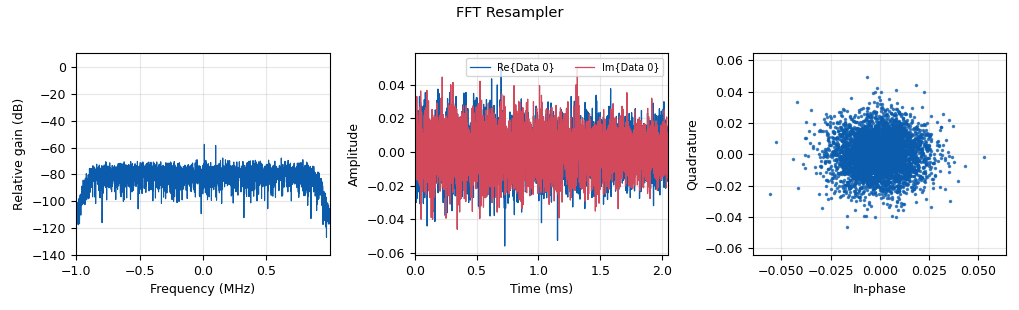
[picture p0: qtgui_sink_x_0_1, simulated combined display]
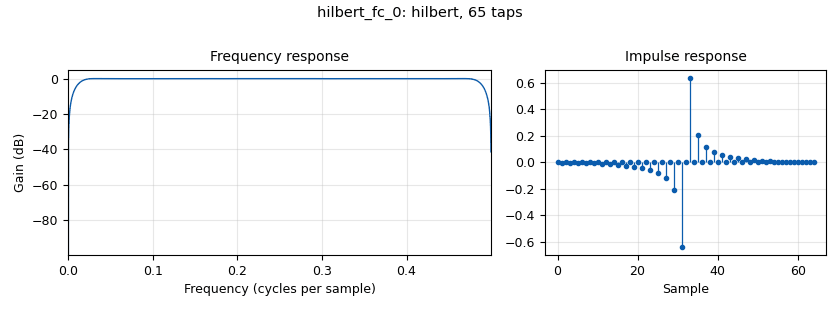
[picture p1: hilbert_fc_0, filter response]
options:
  parameters:
    generate_options: qt_gui
    id: fmcw_simulado_01
    output_language: python
    title: Not titled yet
  states: {}

blocks:
- name: FC_RX
  id: variable
  parameters:
    value: 2.4e9
  states: {}
- name: FC_TX
  id: variable
  parameters:
    value: 2.4e9
  states: {}
- name: PI
  id: variable
  parameters:
    value: '3.14159'
  states: {}
- name: amp_rx
  id: variable_qtgui_range
  parameters:
    label: AMP rx
    orient: Qt.Horizontal
    start: '0.05'
    step: '0.05'
    stop: '1'
    value: '0.1'
  states: {}
- name: amp_rx_0
  id: variable_qtgui_range
  parameters:
    label: AMP rx
    orient: Qt.Horizontal
    start: '0.05'
    step: '0.05'
    stop: '1'
    value: '0.1'
  states: {}
- name: amp_tx
  id: variable_qtgui_range
  parameters:
    label: AMP tx
    orient: Qt.Horizontal
    start: '0'
    step: '0.05'
    stop: '1'
    value: '0.05'
  states: {}
- name: gain_rx
  id: variable_qtgui_range
  parameters:
    label: GAIN RX
    orient: Qt.Horizontal
    start: '0'
    step: '1'
    stop: '20'
    value: '10'
  states: {state: disabled}
- name: gain_rx_0
  id: variable_qtgui_range
  parameters:
    label: GAIN TX
    orient: Qt.Horizontal
    start: '0'
    step: '1'
    stop: '20'
    value: '10'
  states: {state: disabled}
- name: gain_tx
  id: variable_qtgui_range
  parameters:
    label: GAIN TX
    orient: Qt.Horizontal
    start: '0'
    step: '1'
    stop: '20'
    value: '10'
  states: {state: disabled}
- name: samp_rate
  id: variable
  parameters:
    value: 2e6
  states: {}
- name: sample_delay
  id: variable_qtgui_range
  parameters:
    label: Muestras de delay
    orient: Qt.Horizontal
    start: 1e3
    step: 1e3
    stop: 1e6
    value: 1e3
  states: {}
- name: analog_noise_source_x_0
  id: analog_noise_source_x
  parameters:
    amp: '2'
    noise_type: analog.GR_GAUSSIAN
    seed: '0'
    type: complex
  states: {}
- name: analog_sig_source_x_0
  id: analog_sig_source_x
  parameters:
    amp: 2*PI
    freq: '0.1'
    offset: '0'
    phase: '0'
    samp_rate: samp_rate
    type: float
    waveform: analog.GR_TRI_WAVE
  states: {}
- name: blocks_add_xx_0
  id: blocks_add_xx
  parameters:
    type: complex
  states: {}
- name: blocks_add_xx_0_0
  id: blocks_add_xx
  parameters:
    type: complex
  states: {}
- name: blocks_delay_0
  id: blocks_delay
  parameters:
    delay: int(sample_delay)
    type: complex
  states: {}
- name: blocks_delay_0_0
  id: blocks_delay
  parameters:
    delay: int(10e3)
    type: complex
  states: {}
- name: blocks_multiply_conjugate_cc_0
  id: blocks_multiply_conjugate_cc
  parameters: {}
  states: {}
- name: blocks_multiply_const_vxx_0
  id: blocks_multiply_const_vxx
  parameters:
    const: '10'
    type: complex
  states: {state: disabled}
- name: blocks_multiply_const_vxx_0_0
  id: blocks_multiply_const_vxx
  parameters:
    const: amp_tx
    type: complex
  states: {state: disabled}
- name: blocks_multiply_const_vxx_1
  id: blocks_multiply_const_vxx
  parameters:
    const: amp_tx
    type: complex
  states: {}
- name: blocks_multiply_const_vxx_1_0
  id: blocks_multiply_const_vxx
  parameters:
    const: amp_rx
    type: complex
  states: {}
- name: blocks_null_sink_0
  id: blocks_null_sink
  parameters:
    type: complex
  states: {state: disabled}
- name: blocks_throttle_1_0
  id: blocks_throttle
  parameters:
    samples_per_second: 1E6
    type: complex
  states: {state: disabled}
- name: blocks_throttle_1_0_0
  id: blocks_throttle
  parameters:
    samples_per_second: 1E6
    type: complex
  states: {state: disabled}
- name: blocks_throttle_1_0_0_0
  id: blocks_throttle
  parameters:
    samples_per_second: 1e6
    type: complex
  states: {}
- name: blocks_vco_f_0
  id: blocks_vco_f
  parameters:
    amplitude: '1'
    samp_rate: samp_rate
    sensitivity: 1e6
  states: {}
- name: dc_blocker_xx_0
  id: dc_blocker_xx
  parameters:
    length: '32'
    long_form: 'True'
    type: cc
  states: {state: disabled}
- name: hilbert_fc_0
  id: hilbert_fc
  parameters:
    num_taps: '64'
    win: firdes.WIN_HAMMING
  states: {}
- name: osmosdr_sink_0
  id: osmosdr_sink
  parameters:
    bb_gain0: '20'
    freq0: FC_TX
    gain0: gain_tx
    if_gain0: '20'
    sample_rate: samp_rate
    sync: sync
    type: fc32
  states: {state: disabled}
- name: osmosdr_source_0
  id: osmosdr_source
  parameters:
    bb_gain0: '20'
    freq0: FC_RX
    gain0: gain_rx
    gain_mode0: 'False'
    if_gain0: '20'
    sample_rate: samp_rate
    sync: sync
    type: fc32
  states: {state: disabled}
- name: qtgui_sink_x_0
  id: qtgui_sink_x
  parameters:
    bw: 2E6
    fc: '0'
    fftsize: '1024'
    type: complex
    wintype: firdes.WIN_BLACKMAN_hARRIS
  states: {state: disabled}
- name: qtgui_sink_x_0_0
  id: qtgui_sink_x
  parameters:
    bw: '1000'
    fc: '0'
    fftsize: '1024'
    type: complex
    wintype: firdes.WIN_BLACKMAN_hARRIS
  states: {state: disabled}
- name: qtgui_sink_x_0_1
  id: qtgui_sink_x
  parameters:
    bw: samp_rate
    fc: '0'
    fftsize: '4096'
    name: '"FFT Resampler"'
    type: complex
    wintype: firdes.WIN_BLACKMAN_hARRIS
  states: {}
- name: qtgui_time_sink_x_0
  id: qtgui_time_sink_x
  parameters:
    size: '1024'
    srate: samp_rate
    type: complex
  states: {state: disabled}
- name: rational_resampler_xxx_0
  id: rational_resampler_xxx
  parameters:
    decim: '100'
    interp: '1'
    taps: ''
    type: ccf
  states: {}

connections:
- [analog_noise_source_x_0, '0', blocks_add_xx_0_0, '1']
- [analog_sig_source_x_0, '0', blocks_vco_f_0, '0']
- [blocks_add_xx_0, '0', blocks_add_xx_0_0, '0']
- [blocks_add_xx_0_0, '0', blocks_multiply_conjugate_cc_0, '1']
- [blocks_delay_0, '0', blocks_add_xx_0, '0']
- [blocks_delay_0_0, '0', blocks_add_xx_0, '1']
- [blocks_multiply_conjugate_cc_0, '0', blocks_null_sink_0, '0']
- [blocks_multiply_conjugate_cc_0, '0', rational_resampler_xxx_0, '0']
- [blocks_multiply_const_vxx_0, '0', blocks_multiply_conjugate_cc_0, '1']
- [blocks_multiply_const_vxx_0_0, '0', osmosdr_sink_0, '0']
- [blocks_multiply_const_vxx_1, '0', blocks_delay_0, '0']
- [blocks_multiply_const_vxx_1, '0', blocks_delay_0_0, '0']
- [blocks_multiply_const_vxx_1, '0', blocks_throttle_1_0, '0']
- [blocks_multiply_const_vxx_1_0, '0', blocks_multiply_conjugate_cc_0, '0']
- [blocks_throttle_1_0, '0', qtgui_sink_x_0, '0']
- [blocks_throttle_1_0_0, '0', qtgui_sink_x_0_0, '0']
- [blocks_throttle_1_0_0_0, '0', qtgui_sink_x_0_1, '0']
- [blocks_vco_f_0, '0', hilbert_fc_0, '0']
- [dc_blocker_xx_0, '0', blocks_multiply_const_vxx_0, '0']
- [hilbert_fc_0, '0', blocks_multiply_const_vxx_0_0, '0']
- [hilbert_fc_0, '0', blocks_multiply_const_vxx_1, '0']
- [hilbert_fc_0, '0', blocks_multiply_const_vxx_1_0, '0']
- [osmosdr_source_0, '0', dc_blocker_xx_0, '0']
- [rational_resampler_xxx_0, '0', blocks_throttle_1_0_0_0, '0']

metadata:
  file_format: 1
